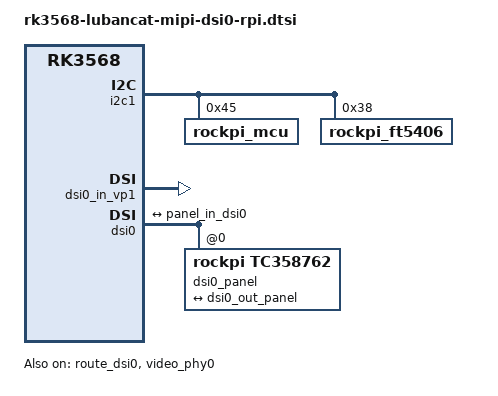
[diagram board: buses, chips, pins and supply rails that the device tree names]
// SPDX-License-Identifier: (GPL-2.0+ OR MIT)
/*
 * Copyright (c) 2020 Rockchip Electronics Co., Ltd.
 *
 */

&i2c1 {
	status = "okay";

	rockpi_mcu: rockpi-mcu@45 {
		compatible = "rockpi_mcu";
		reg = <0x45>;
		status = "okay";
	};

	rockpi_ft5406: rockpi_ft5406@38 {
		compatible = "rockpi_ft5406";
		reg = <0x38>;
		status = "okay";
	};
};

&route_dsi0 {
	status = "okay";
	connect = <&vp1_out_dsi0>;
};

&video_phy0 {
	status = "okay";
};

&dsi0_in_vp0 {
	status = "disabled";
};

&dsi0_in_vp1 {
	status = "okay";
};

&dsi0 {
	status = "okay";
	power-supply = <&mipi_dsi0_lcd_power>;

	dsi0_panel: dsi-panel@0 {
		compatible = "rockpi,tc358762";
		reg = <0x0>;
		status = "okay";

		ports {
			#address-cells = <1>;
			#size-cells = <0>;

			port@0 {
				reg = <0>;

				panel_in_dsi0: endpoint {
					remote-endpoint = <&dsi0_out_panel>;
				};
			};
		};
	};

	ports {
		#address-cells = <1>;
		#size-cells = <0>;

		port@1 {
			reg = <1>;
			#address-cells = <1>;
			#size-cells = <0>;

			dsi0_out_panel: endpoint@0 {
				reg = <0>;
				remote-endpoint = <&panel_in_dsi0>;
			};
		};
	};
};
